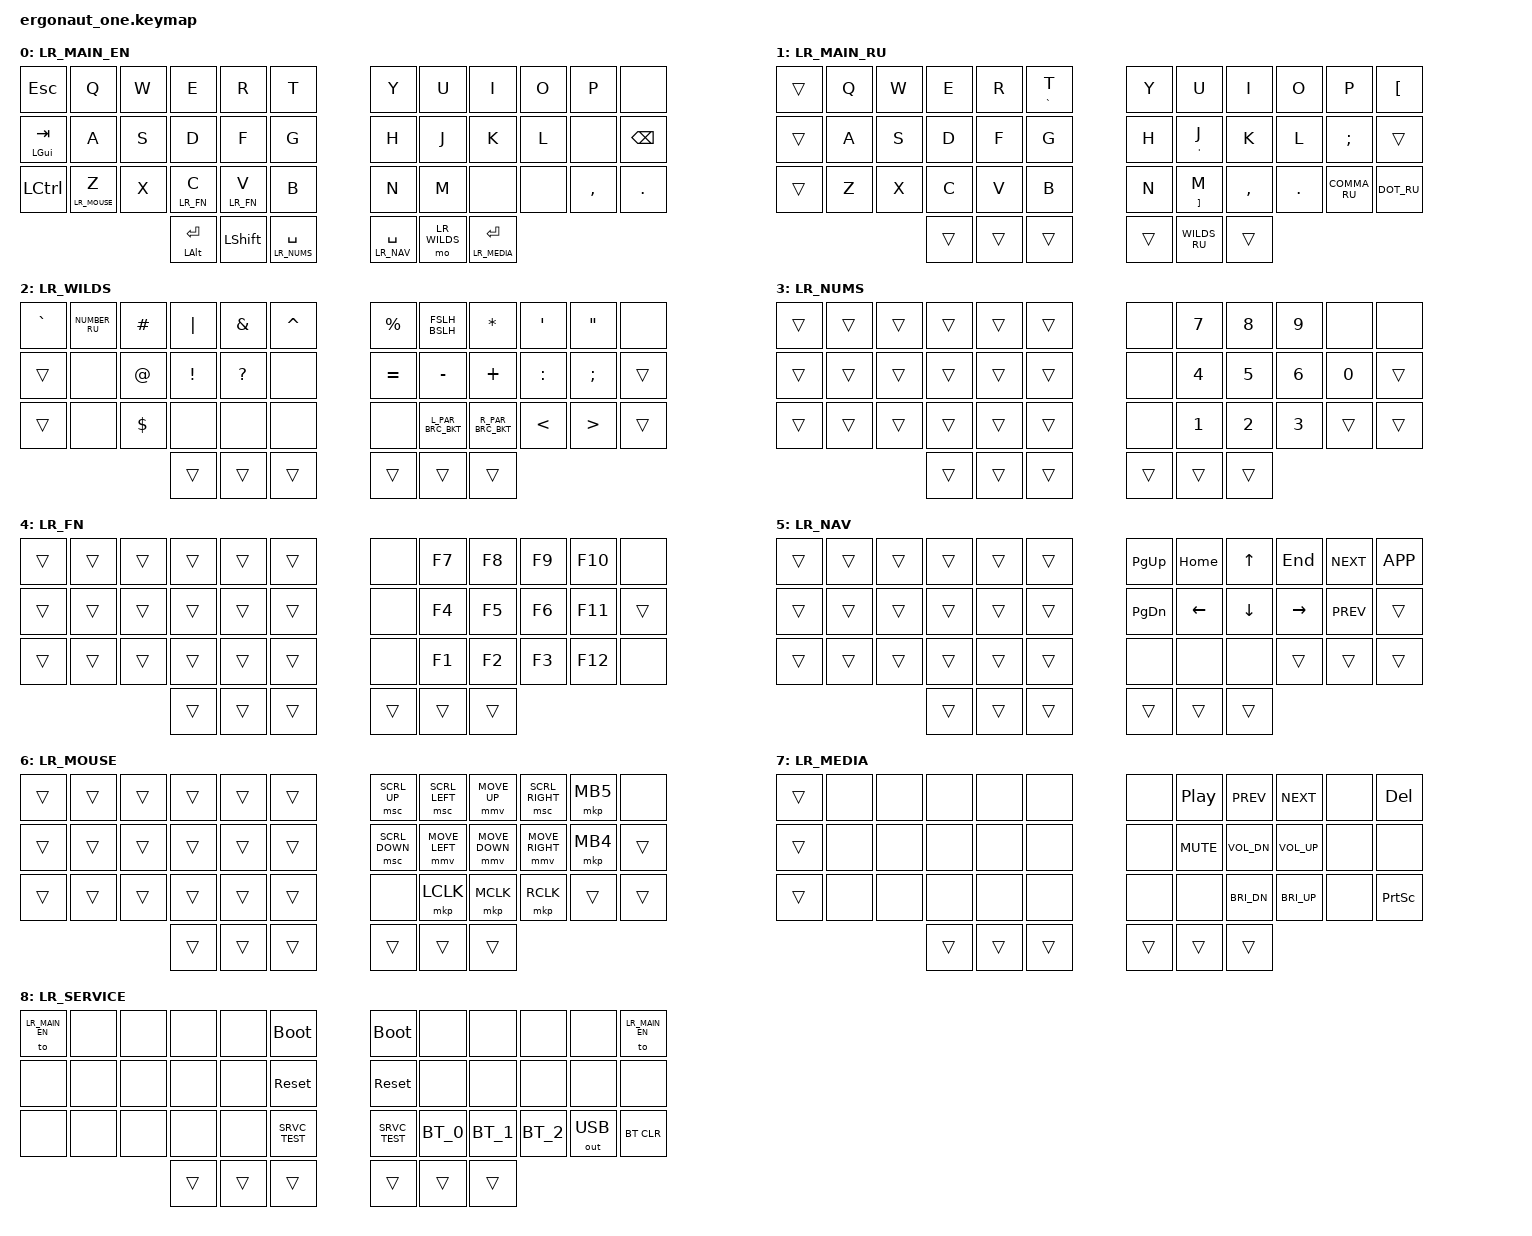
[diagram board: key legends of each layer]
#include <dt-bindings/zmk/mouse.h>
#include <behaviors/mouse_keys.dtsi>
#include <behaviors.dtsi>
#include <dt-bindings/zmk/keys.h>
#include <dt-bindings/zmk/bt.h>
#include <dt-bindings/zmk/outputs.h>

#define LR_MAIN_EN    0
#define LR_MAIN_RU    1
#define LR_WILDS      2
#define LR_NUMS       3
#define LR_FN         4
#define LR_NAV        5
#define LR_MOUSE      6
// #define LR_MOUSE_FAST 7
// #define LR_MOUSE_SLOW 8
#define LR_MEDIA      7
#define LR_SERVICE    8

#define ZMK_MOUSE_DEFAULT_MOVE_VAL 600  // 600
#define ZMK_MOUSE_DEFAULT_SCRL_VAL 20   // 10

#define U_TAPPING_TERM 200
#define U_QUICK_TAP 0
#define U_STREAK_DECAY 125

#define U_TO_ENG_SCUT LA(LS(N8))
#define U_TO_RUS_SCUT LA(LS(N9))

#define LEFT_HAND_KEYS \
  0  1  2  3  4  5     \
  12 13 14 15 16 17    \
  24 25 26 27 28 29
#define LEFT_THUMB_KEYS \
  36 37 38 

#define RIGHT_HAND_KEYS \
  6  7  8  9 10 11      \
  18 19 20 21 22 23     \
  30 31 32 33 34 35
#define RIGHT_THUMB_KEYS \
  39 40 41


&lt { 
    flavor = "balanced";
    tapping-term-ms = <U_TAPPING_TERM>;
    quick-tap-ms = <U_QUICK_TAP>; 
};
&mt { 
    flavor = "balanced";
    tapping-term-ms = <U_TAPPING_TERM>;
    quick-tap-ms = <U_QUICK_TAP>; 
};
&mmv {
    acceleration-exponent = <1>;  // 1
    time-to-max-speed-ms = <300>; // 300
    delay-ms = <0>;
    trigger-period-ms = <8>;      // 16
};
&msc {
    acceleration-exponent = <1>;  // 0
    time-to-max-speed-ms = <40>;  // 300
    delay-ms = <0>;
    trigger-period-ms = <8>;      // 16
};

// / {
//   chosen {
//     zmk,matrix_transform = &default_transform;
//   };
// };

/ {
  // tap mods
  behaviors {
      // // NOTE: example, "LR_WILDS_WITH 0 TAB". 0 is dummy argument
      // // https://zmk.dev/docs/behaviors/hold-tap#using-different-behavior-types-with-hold-taps
      // LR_WILDS_WITH: LR_WILDS_WITH {
      //     compatible = "zmk,behavior-hold-tap";
      //     label = "LR_WILDS_WITH";
      //     #binding-cells = <2>;
      //     flavor = "hold-preferred";
      //     tapping-term-ms = <150>;
      //     // bindings = <hold>, <tap>;
      //     bindings = <&WILDS_RU>, <&kp>;
      // };

    // cmt - custom mod-tap
    cmt: cmt {
      compatible = "zmk,behavior-hold-tap";
      label = "custom-mod-tap";
      #binding-cells = <2>;
      flavor = "tap-preferred";
      tapping-term-ms = <200>;
      quick-tap-ms = <200>;
      // bindings = <hold>, <tap>;
      bindings = <&kp>, <&kp>;
    };
    // lmt: left_mod_tap {
    //   compatible = "zmk,behavior-hold-tap";
    //   flavor = "balanced";
    //   hold-trigger-key-positions = <RIGHT_HAND_KEYS RIGHT_THUMB_KEYS>;
    //   hold-trigger-on-release; // for combining HRMs
    //   tapping-term-ms = <U_TAPPING_TERM>;
    //   quick-tap-ms = <U_QUICK_TAP>;
    //   require-prior-idle-ms = <U_STREAK_DECAY>;
    //   #binding-cells = <2>;
    //   bindings = <&kp>, <&kp>;
    // };
    // rmt: right_mod_tap {
    //   compatible = "zmk,behavior-hold-tap";
    //   flavor = "balanced";
    //   hold-trigger-key-positions = <LEFT_HAND_KEYS LEFT_THUMB_KEYS>;
    //   hold-trigger-on-release; // for combining HRMs
    //   tapping-term-ms = <U_TAPPING_TERM>;
    //   quick-tap-ms = <U_QUICK_TAP>;
    //   require-prior-idle-ms = <U_STREAK_DECAY>;
    //   #binding-cells = <2>;
    //   bindings = <&kp>, <&kp>;
    // };
    // // Mouse 
    // //  acceleration
    // fmmv: fast_mouse_move {
    //   compatible = "zmk,behavior-input-two-axis";
    //   #binding-cells = <1>;
    //   x-input-code = <INPUT_REL_X>;
    //   y-input-code = <INPUT_REL_Y>;
    //   acceleration-exponent = <1>;  // 1
    //   time-to-max-speed-ms = <300>; // 300
    //   delay-ms = <0>;
    //   trigger-period-ms = <8>;      // 16
    // };
    // fmsc: fast_mouse_scroll {
    //   compatible = "zmk,behavior-input-two-axis";
    //   #binding-cells = <1>;
    //   x-input-code = <INPUT_REL_HWHEEL>;
    //   y-input-code = <INPUT_REL_WHEEL>;
    //   acceleration-exponent = <1>;  // 0
    //   time-to-max-speed-ms = <40>;  // 300
    //   delay-ms = <0>;
    //   trigger-period-ms = <8>;      // 16
    // };
    // //  deceleration
    // smmv: slow_mouse_move {
    //   compatible = "zmk,behavior-input-two-axis";
    //   #binding-cells = <1>;
    //   x-input-code = <INPUT_REL_X>;
    //   y-input-code = <INPUT_REL_Y>;
    //   acceleration-exponent = <1>;  // 1
    //   time-to-max-speed-ms = <300>; // 300
    //   delay-ms = <0>;
    //   trigger-period-ms = <8>;      // 16
    // };
  };

  // // Mouse 
  // //  acceleration
  // fmmv_input_listener: fmmv_input_listener {
  //   compatible = "zmk,input-listener";
  //   device = <&fmmv>;
  //   scale-multiplier = <2>;
  //   scale-divisor = <1>;
  // };
  // fmsc_input_listener: fmsc_input_listener {
  //   compatible = "zmk,input-listener";
  //   device = <&fmsc>;
  //   scale-multiplier = <2>;
  //   scale-divisor = <1>;
  // };
  // //  deceleration
  // smmv_input_listener: smmv_input_listener {
  //   compatible = "zmk,input-listener";
  //   device = <&smmv>;
  //   scale-multiplier = <1>;
  //   scale-divisor = <2>;
  // };
};

/ {
  macros {
    // LAYOUT_EN: LAYOUT_EN {
    //   label = "ZM_LAYOUT_EN";
    //   compatible = "zmk,behavior-macro";
    //   #binding-cells = <0>;
    //   wait-ms = <10>;
    //   tap-ms = <30>;
    //   bindings =
    //     <&kp LA(LS(N8))>; // <&kp CAPS>;
    // };
    // LAYOUT_RU: LAYOUT_RU {
    //   label = "ZM_LAYOUT_RU";
    //   compatible = "zmk,behavior-macro";
    //   #binding-cells = <0>;
    //   wait-ms = <10>;
    //   tap-ms = <30>;
    //   bindings =
    //     <&kp LA(LS(N9))>; // <&kp LS(CAPS)>;
    // };
    TO_MAIN_EN: TO_MAIN_EN {
      label = "ZM_TO_MAIN_EN";
      compatible = "zmk,behavior-macro";
      #binding-cells = <0>;
      wait-ms = <10>;
      tap-ms = <30>;
      bindings =
        <&kp U_TO_ENG_SCUT>,
        <&to LR_MAIN_EN>;
    };
    TO_MAIN_RU: TO_MAIN_RU {
      label = "ZM_TO_MAIN_RU";
      compatible = "zmk,behavior-macro";
      #binding-cells = <0>;
      wait-ms = <10>;
      tap-ms = <30>;
      bindings =
        <&kp U_TO_RUS_SCUT>,
        <&to LR_MAIN_RU>;
    };
    WILDS_RU: WILDS_RU {
      label = "ZM_WILDS_RU";
      compatible = "zmk,behavior-macro";
      #binding-cells = <0>;
      wait-ms = <10>;
      tap-ms = <30>;
      bindings =
        <&kp U_TO_ENG_SCUT>,
        <&to LR_WILDS>,
        <&macro_pause_for_release>,
        <&to LR_MAIN_RU>,
        <&kp U_TO_RUS_SCUT>;
    };
    NUMBER_RU: NUMBER_RU {
      label = "ZM_NUMBER_RU";
      compatible = "zmk,behavior-macro";
      #binding-cells = <0>;
      wait-ms = <10>;
      tap-ms = <30>;
      bindings =
        <&kp U_TO_RUS_SCUT>,
        <&kp LS(N3)>,
        <&kp U_TO_ENG_SCUT>;
    };
    SRVC_TEST: SRVC_TEST {
      label = "ZM_SRVC_TEST";
      compatible = "zmk,behavior-macro";
      #binding-cells = <0>;
      wait-ms = <10>;
      tap-ms = <30>;
      bindings =
          <&kp S>,<&kp E>,<&kp R>,<&kp V>,<&kp I>,<&kp C>,<&kp E>;
    };
    BT_0: bt_profile_macro_0 {
      label = "BT_0";
      compatible = "zmk,behavior-macro";
      #binding-cells = <0>;
      bindings = 
          <&out OUT_BLE>,
          <&bt BT_SEL 0>;
    };
    BT_1: bt_profile_macro_1 {
      label = "BT_1";
      compatible = "zmk,behavior-macro";
      #binding-cells = <0>;
      bindings =
          <&out OUT_BLE>,
          <&bt BT_SEL 1>;
    };
    BT_2: bt_profile_macro_2 {
      label = "BT_2";
      compatible = "zmk,behavior-macro";
      #binding-cells = <0>;
      bindings =
          <&out OUT_BLE>,
          <&bt BT_SEL 2>;
    };
    BT_3: bt_profile_macro_3 {
      label = "BT_3";
      compatible = "zmk,behavior-macro";
      #binding-cells = <0>;
      bindings =
          <&out OUT_BLE>,
          <&bt BT_SEL 3>;
    };
  };
};

/ {
  // key with mod items
  behaviors {
    EN_RU: EN_RU {
      compatible = "zmk,behavior-mod-morph";
      label = "EN_RU";
      #binding-cells = <0>;
      bindings = <&TO_MAIN_EN>, <&TO_MAIN_RU>;
      mods = <(MOD_LCTL)>;
    };
    DOT_RU: DOT_RU {
      compatible = "zmk,behavior-mod-morph";
      label = "DOT_RU";
      #binding-cells = <0>;
      bindings = <&mt DOT FSLH>, <&kp DOT>;
      mods = <(MOD_LCTL|MOD_LALT|MOD_LGUI)>;
      keep-mods = <(MOD_LCTL|MOD_LALT|MOD_LGUI)>;
    };
    COMMA_RU: COMMA_RU {
      compatible = "zmk,behavior-mod-morph";
      label = "COMMA_RU";
      #binding-cells = <0>;
      bindings = <&kp LS(FSLH)>, <&kp COMMA>;
      mods = <(MOD_LCTL|MOD_LALT|MOD_LGUI)>;
      keep-mods = <(MOD_LCTL|MOD_LALT|MOD_LGUI)>;
    };
    FSLH_BSLH: FSLH_BSLH {
      compatible = "zmk,behavior-mod-morph";
      label = "FSLH_BSLH";
      #binding-cells = <0>;
      bindings = <&kp FSLH>, <&kp BSLH>;
      mods = <(MOD_LSFT)>;
    };
    L_PAR_BRC_BKT: L_PAR_BRC_BKT {
      compatible = "zmk,behavior-mod-morph";
      label = "L_PAR_BRC_BKT";
      #binding-cells = <0>;
      bindings = <&kp LPAR>, <&cmt LBKT LBRC>;
      mods = <(MOD_LSFT)>;
    };
    R_PAR_BRC_BKT: R_PAR_BRC_BKT {
      compatible = "zmk,behavior-mod-morph";
      label = "R_PAR_BRC_BKT";
      #binding-cells = <0>;
      bindings = <&kp RPAR>, <&cmt RBKT RBRC>;
      mods = <(MOD_LSFT)>;
    };
  };
};

/ {
  // combos (indexes start from 0)
  combos {
    compatible = "zmk,combos";
    // EN-RU layout: K + L
    switch_lang_new {
      timeout-ms = <20>;
      key-positions = <20 21>;
      layers = <LR_MAIN_EN LR_MAIN_RU>; 
      bindings = <&EN_RU>;
    };
    // LR_SERVICE. Left half: top left (Esc) + all LEFT_THUMB_KEYS
    to_serv_left {
      timeout-ms = <100>;
      key-positions = <0 LEFT_THUMB_KEYS>;
      layers = <LR_MAIN_EN LR_MAIN_RU>; 
      bindings = <&to LR_SERVICE>;
    };
    // LR_SERVICE. Right half: top right + all RIGHT_THUMB_KEYS
    to_serv_right {
      timeout-ms = <100>;
      key-positions = <11 RIGHT_THUMB_KEYS>;
      layers = <LR_MAIN_EN LR_MAIN_RU>; 
      bindings = <&to LR_SERVICE>;
    };
  };
};

/ {
  keymap {
    compatible = "zmk,keymap";
    LR_MAIN_EN {
      bindings = <
        // row 1
        &kp ESC        &kp Q            &kp W   &kp E         &kp R         &kp T            &kp Y   &kp U   &kp I   &kp O   &kp P       &none
        // row 2
        &mt LGUI TAB   &kp A            &kp S   &kp D         &kp F         &kp G            &kp H   &kp J   &kp K   &kp L   &none       &kp BSPC
        // row 3
        &kp LCTRL      &lt LR_MOUSE Z   &kp X   &lt LR_FN C   &lt LR_FN V   &kp B            &kp N   &kp M   &none   &none   &kp COMMA   &kp DOT
        // thumb row
        &mt LALT ENTER   &kp LSHFT   &lt LR_NUMS SPACE                                       &lt LR_NAV SPACE   &mo LR_WILDS   &lt LR_MEDIA ENTER
      >;
    };
    
    LR_MAIN_RU {
      bindings = <
        // row 1
        &trans   &kp Q   &kp W   &kp E   &kp R   &cmt GRAVE T            &kp Y   &kp U          &kp I       &kp O     &kp P       &kp LBKT
        // row 2
        &trans   &kp A   &kp S   &kp D   &kp F   &kp G                   &kp H   &cmt SQT J     &kp K       &kp L     &kp SEMI    &trans
        // row 3
        &trans   &kp Z   &kp X   &kp C   &kp V   &kp B                   &kp N   &cmt RBKT M    &kp COMMA   &kp DOT   &COMMA_RU   &DOT_RU
        // thumb row
        &trans   &trans   &trans                                         &trans   &WILDS_RU   &trans
      >;
    };

    LR_WILDS {
      bindings = <
        // row 1
        &kp GRAVE   &NUMBER_RU   &kp HASH   &kp PIPE   &kp AMPS    &kp CARET            &kp PRCNT   &FSLH_BSLH       &kp ASTRK        &kp SQT     &kp DQT    &none
        // row 2
        &trans      &none        &kp AT     &kp EXCL   &kp QMARK   &none                &kp EQUAL   &kp MINUS        &kp PLUS         &kp COLON   &kp SEMI   &trans
        // row 3
        &trans      &none        &kp DLLR   &none      &none       &none                &none       &L_PAR_BRC_BKT   &R_PAR_BRC_BKT   &kp LT      &kp GT     &trans
        // thumb row
        &trans   &trans   &trans                                                        &trans   &trans   &trans
      >;
    };
    
    LR_NUMS {
      bindings = <
        // row 1
        &trans   &trans   &trans    &trans    &trans   &trans            &none   &kp N7   &kp N8   &kp N9   &none    &none
        // row 2
        &trans   &trans   &trans    &trans    &trans   &trans            &none   &kp N4   &kp N5   &kp N6   &kp N0   &trans
        // row 3
        &trans   &trans   &trans    &trans    &trans   &trans            &none   &kp N1   &kp N2   &kp N3   &trans   &trans
        // thumb row
        &trans   &trans   &trans                                         &trans   &trans   &trans
      >;
    };

    LR_FN {
      bindings = <
        // row 1
        &trans   &trans   &trans    &trans    &trans   &trans            &none   &kp F7   &kp F8   &kp F9   &kp F10   &none
        // row 2
        &trans   &trans   &trans    &trans    &trans   &trans            &none   &kp F4   &kp F5   &kp F6   &kp F11   &trans
        // row 3
        &trans   &trans   &trans    &trans    &trans   &trans            &none   &kp F1   &kp F2   &kp F3   &kp F12   &none
        // thumb row
        &trans   &trans   &trans                                         &trans   &trans   &trans
      >;
    };
    
    LR_NAV {
      bindings = <
        // row 1
        &trans   &trans   &trans    &trans    &trans   &trans            &kp PG_UP   &kp HOME   &kp UP     &kp END     &kp C_NEXT   &kp K_APP
        // row 2
        &trans   &trans   &trans    &trans    &trans   &trans            &kp PG_DN   &kp LEFT   &kp DOWN   &kp RIGHT   &kp C_PREV   &trans
        // row 3
        &trans   &trans   &trans    &trans    &trans   &trans            &none       &none      &none      &trans      &trans       &trans
        // thumb row
        &trans   &trans   &trans                                         &trans   &trans   &trans
      >;
    };

    LR_MOUSE {
      bindings = <
        // row 1
        &trans   &trans   &trans    &trans    &trans   &trans            &msc SCRL_UP     &msc SCRL_LEFT   &mmv MOVE_UP     &msc SCRL_RIGHT   &mkp MB5   &none
        // row 2
        &trans   &trans   &trans    &trans    &trans   &trans            &msc SCRL_DOWN   &mmv MOVE_LEFT   &mmv MOVE_DOWN   &mmv MOVE_RIGHT   &mkp MB4   &trans
        // row 3
        &trans   &trans   &trans    &trans    &trans   &trans            &none            &mkp LCLK        &mkp MCLK        &mkp RCLK         &trans     &trans
        // thumb row            
        &trans   &trans   &trans                                         &trans   &trans   &trans
      >;
    };

    // LR_MOUSE_FAST {
    //   bindings = <
    //     // row 1
    //     &trans   &trans   &trans   &trans   &trans   &trans            &fmsc SCRL_UP     &fmsc SCRL_LEFT   &fmmv MOVE_UP     &fmsc SCRL_RIGHT   &trans   &trans
    //     // row 2
    //     &trans   &trans   &trans   &trans   &trans   &trans            &fmsc SCRL_DOWN   &fmmv MOVE_LEFT   &fmmv MOVE_DOWN   &fmmv MOVE_RIGHT   &trans   &trans
    //     // row 3  
    //     &trans   &trans   &trans   &trans   &trans   &trans            &trans            &trans            &trans            &trans             &trans   &trans
    //     // thumb row
    //     &trans   &trans   &trans                                       &trans   &trans   &trans
    //   >;
    // };

    // LR_MOUSE_SLOW {
    //   bindings = <
    //     // row 1
    //     &trans   &trans   &trans   &trans   &trans   &trans            &trans   &trans            &smmv MOVE_UP     &trans             &trans   &trans
    //     // row 2
    //     &trans   &trans   &trans   &trans   &trans   &trans            &trans   &smmv MOVE_LEFT   &smmv MOVE_DOWN   &smmv MOVE_RIGHT   &trans   &trans
    //     // row 3
    //     &trans   &trans   &trans   &trans   &trans   &trans            &trans   &trans            &trans            &trans             &trans   &trans
    //     // thumb row
    //     &trans   &trans   &trans                                       &trans   &trans   &trans
    //   >;
    // };

    LR_MEDIA {
      bindings = <
        // row 1
        &trans   &none   &none   &none   &none   &none            &none   &kp C_PP     &kp C_PREV     &kp C_NEXT     &none   &kp DEL
        // row 2
        &trans   &none   &none   &none   &none   &none            &none   &kp C_MUTE   &kp C_VOL_DN   &kp C_VOL_UP   &none   &none
        // row 3
        &trans   &none   &none   &none   &none   &none            &none   &none        &kp C_BRI_DN   &kp C_BRI_UP   &none   &kp PSCRN
        // thumb row
        &trans   &trans   &trans                                  &trans   &trans   &trans
      >;
    };

    LR_SERVICE {
      bindings = <
        // row 1
        &to LR_MAIN_EN   &none   &none   &none   &none   &bootloader            &bootloader   &none   &none   &none   &none          &to LR_MAIN_EN
        // row 2
        &none            &none   &none   &none   &none   &sys_reset             &sys_reset    &none   &none   &none   &none          &none
        // row 3
        &none            &none   &none   &none   &none   &SRVC_TEST             &SRVC_TEST    &BT_0   &BT_1   &BT_2   &out OUT_USB   &bt BT_CLR 
        // thumb row
        &trans   &trans   &trans                                                &trans   &trans   &trans
      >;
    };
  };
};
